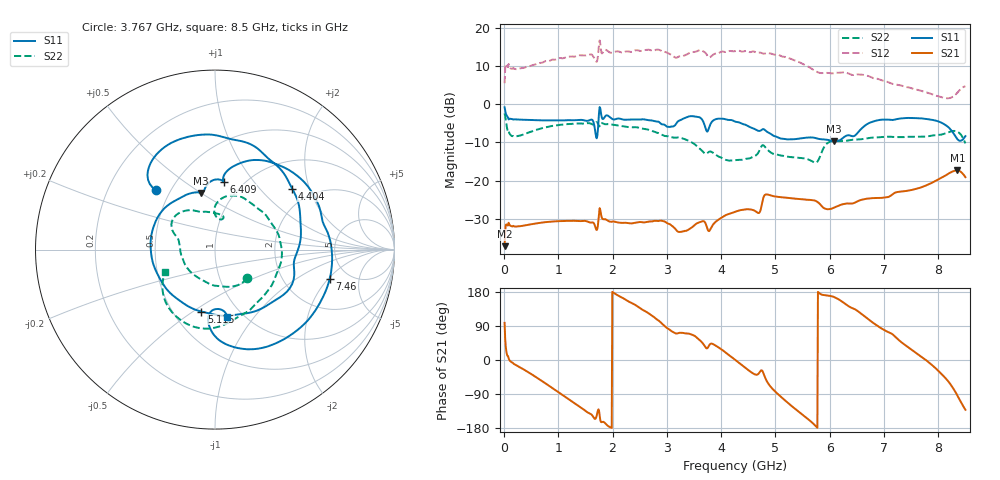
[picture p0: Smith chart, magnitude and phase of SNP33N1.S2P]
!Agilent Technologies,E5071B,MY42403545,A.09.10
!Date: Thu Jul 18 07:37:41 2019
!Data & Calibration Information:
!Freq	S11:SOLT2(ON)	S21:SOLT2(ON)	S12:SOLT2(ON)	S22:SOLT2(ON)
# Hz S dB R 50
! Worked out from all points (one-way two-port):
!   801 points, 10 MHz to 8.5 GHz, reference 50 ohm
!   highest |S21| = -17.33 dB at 8.351 GHz (marker M1); lowest = -37.2 dB at 10 MHz (marker M2)
!   lowest |S11| = -9.8 dB at 6.08 GHz (marker M3), VSWR 1.96, Z = 35.5 + j25 ohm
!   |S11| at or under -10 dB: nowhere
!   |S22| runs from -15.4 to -2.4 dB; largest |S21 - S12| = 6.8
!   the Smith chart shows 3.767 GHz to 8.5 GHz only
!   S11 on the Smith chart (normalised r, x): 3.767 GHz: 0.42, +0.36; 4.404 GHz: 1.59, +1.54; 5.115 GHz: 0.69, -0.54; 6.409 GHz: 0.81, +0.72; 7.46 GHz: 3.57, -2.09; 8.5 GHz: 0.85, -0.74
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1e7  -0.82 -33.3  -37.19 98.0  5.48 97.3  -2.41 -11.9
8.42875e7  -4.00 -137.9  -31.06 4.6  10.51 0.9  -7.03 -23.1
7.847125e8  -4.25 94.8  -30.87 -63.9  11.30 -86.7  -6.02 -62.3
1.050025e9  -4.26 64.3  -30.63 -89.8  12.05 -122.2  -5.39 -90.2
1.432075e9  -4.13 21.6  -30.62 -126.8  12.78 -173.8  -5.08 -131.1
1.771675e9  -1.03 12.2  -27.61 -157.4  15.96 138.0  -5.19 -162.5
2.111275e9  -3.76 -56.9  -31.02 169.3  13.79 92.0  -5.60 155.9
2.42965e9  -4.03 -90.3  -31.02 144.2  14.12 49.8  -6.04 123.3
2.843538e9  -4.60 -139.4  -30.61 104.5  14.25 -14.2  -7.56 77.0
3.44845e9  -3.14 163.4  -32.39 67.4  13.58 -92.4  -9.94 1.8
3.766825e9  -6.62 134.5  -33.22 35.6  12.33 -148.2  -12.57 -41.4
4.255e9  -4.56 61.1  -28.18 0.9  13.88 146.3  -14.68 -140.4
4.403575e9  -5.23 38.3  -27.64 -15.8  13.77 123.0  -14.50 -166.1
4.711338e9  -7.01 -10.2  -28.28 -31.7  13.50 76.3  -11.96 157.2
5.114612e9  -9.04 -102.4  -24.38 -98.8  12.51 13.2  -13.48 99.4
5.677075e9  -8.73 145.7  -25.13 -165.3  9.17 -63.1  -14.97 75.4
6.08035e9  -9.77 103.8  -27.09 166.1  8.12 -102.3  -9.67 60.2
6.409338e9  -8.38 82.8  -26.04 137.3  7.66 -145.9  -9.34 36.1
7.088538e9  -4.08 19.9  -24.26 73.1  5.68 124.2  -8.52 -8.7
7.459975e9  -3.62 -14.5  -22.62 32.2  4.36 81.0  -8.55 -31.7
8.351425e9  -9.15 -94.1  -17.33 -93.3  2.98 1.4  -7.23 -117.2
8.5e9  -8.39 -79.6  -19.12 -131.4  4.68 -24.0  -10.27 -155.6
